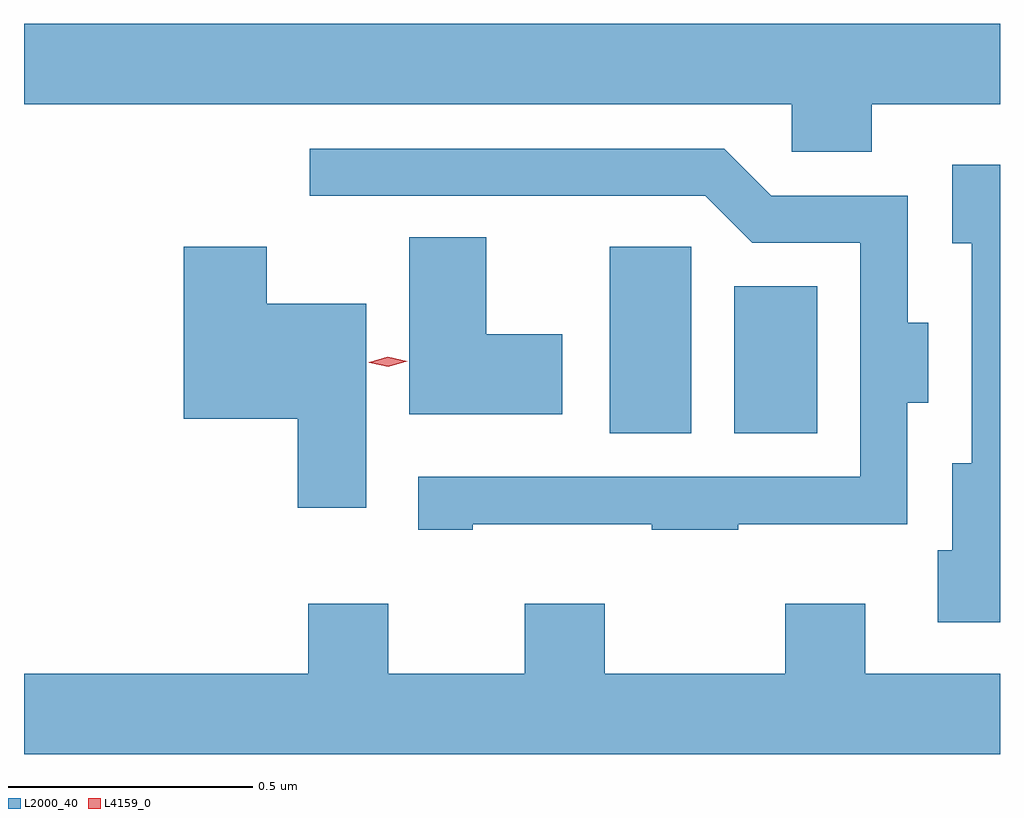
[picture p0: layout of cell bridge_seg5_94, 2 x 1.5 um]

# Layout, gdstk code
import gdstk
lib = gdstk.Library(unit=1e-6, precision=1e-09)
def R(c, l, rs):  # rectangles x0, y0, x1, y1
    for r in rs: c.add(gdstk.rectangle(r[:2], r[2:], *l))
def P(c, l, *ps):  # polygons
    for p in ps: c.add(gdstk.Polygon(p, *l))
L2000_40 = (2000, 40)
L4159_0 = (4159, 0)

bridge_seg5_94 = lib.new_cell('bridge_seg5_94')
R(bridge_seg5_94, L2000_40, [(603.545,872.069,603.712,872.452), (603.8,872.069,603.97,872.371)])
P(bridge_seg5_94, L2000_40, [(604.082,872.744),(604.345,872.744),(604.345,872.908),(602.345,872.908),(602.345,872.744),(603.918,872.744),(603.918,872.646),(604.082,872.646)],
  [(603.265,871.883),(603.631,871.883),(603.631,871.872),(603.809,871.872),(603.809,871.883),(604.155,871.883),(604.155,872.132),(604.198,872.132),(604.198,872.296),(604.156,872.296),(604.156,872.556),(603.876,872.556),(603.78,872.652),(602.931,872.652),(602.931,872.556),(603.741,872.556),(603.837,872.46),(604.059,872.46),(604.059,871.98),(603.153,871.98),(603.153,871.872),(603.265,871.872)],
  [(604.345,872.62),(604.247,872.62),(604.247,872.459),(604.287,872.459),(604.287,872.008),(604.247,872.008),(604.247,871.83),(604.217,871.83),(604.217,871.682),(604.345,871.682)],
  [(603.448,872.272),(603.292,872.272),(603.292,872.471),(603.134,872.471),(603.134,872.108),(603.448,872.108)],
  [(603.046,872.335),(602.842,872.335),(602.842,872.452),(602.672,872.452),(602.672,872.099),(602.906,872.099),(602.906,871.917),(603.046,871.917)],
  [(604.345,871.576),(604.069,871.576),(604.069,871.72),(603.905,871.72),(603.905,871.576),(603.535,871.576),(603.535,871.72),(603.371,871.72),(603.371,871.576),(603.091,871.576),(603.091,871.72),(602.927,871.72),(602.927,871.576),(602.345,871.576),(602.345,871.412),(604.345,871.412)])
P(bridge_seg5_94, L4159_0, [(603.091,872.206),(603.052,872.214),(603.051,872.215),(603.052,872.215),(603.09,872.226),(603.13,872.217),(603.13,872.217),(603.13,872.217)])

lib.write_gds('bridge_seg5_94.gds')
